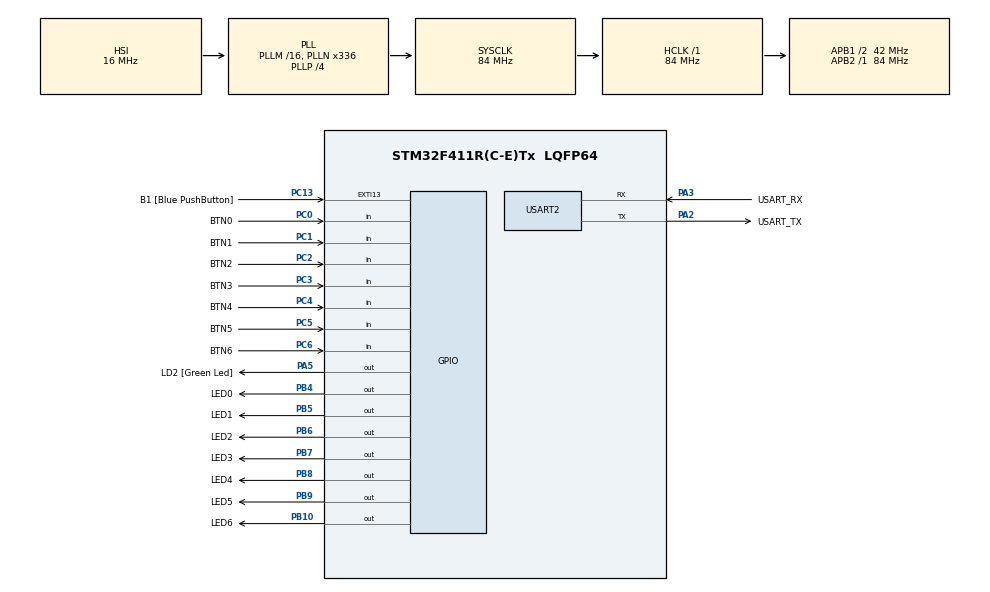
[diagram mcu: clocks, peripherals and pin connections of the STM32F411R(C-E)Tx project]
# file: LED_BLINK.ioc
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Mcu.Family=STM32F4
Mcu.Name=STM32F411R(C-E)Tx
Mcu.Package=LQFP64
NVIC.PriorityGroup=NVIC_PRIORITYGROUP_0
PA13.GPIO_Label=TMS
PA13.Mode=Serial_Wire
PA13.Signal=SYS_JTMS-SWDIO
PA14.GPIO_Label=TCK
PA14.Mode=Serial_Wire
PA14.Signal=SYS_JTCK-SWCLK
PA2.GPIO_Label=USART_TX
PA2.Mode=Asynchronous
PA2.Signal=USART2_TX
PA3.GPIO_Label=USART_RX
PA3.Mode=Asynchronous
PA3.Signal=USART2_RX
PA5.GPIO_Label=LD2 [Green Led]
PA5.Signal=GPIO_Output
PB10.GPIO_Label=LED6
PB10.Signal=GPIO_Output
PB3.GPIO_Label=SWO
PB3.Signal=SYS_JTDO-SWO
PB4.GPIO_Label=LED0
PB4.Signal=GPIO_Output
PB5.GPIO_Label=LED1
PB5.Signal=GPIO_Output
PB6.GPIO_Label=LED2
PB6.Signal=GPIO_Output
PB7.GPIO_Label=LED3
PB7.Signal=GPIO_Output
PB8.GPIO_Label=LED4
PB8.Signal=GPIO_Output
PB9.GPIO_Label=LED5
PB9.Signal=GPIO_Output
PC0.GPIO_Label=BTN0
PC0.Signal=GPIO_Input
PC1.GPIO_Label=BTN1
PC1.Signal=GPIO_Input
PC13-ANTI_TAMP.GPIO_Label=B1 [Blue PushButton]
PC13-ANTI_TAMP.GPIO_ModeDefaultEXTI=GPIO_MODE_IT_FALLING
PC13-ANTI_TAMP.Signal=GPXTI13
PC14-OSC32_IN.Signal=RCC_OSC32_IN
PC15-OSC32_OUT.Signal=RCC_OSC32_OUT
PC2.GPIO_Label=BTN2
PC2.Signal=GPIO_Input
PC3.GPIO_Label=BTN3
PC3.Signal=GPIO_Input
PC4.GPIO_Label=BTN4
PC4.Signal=GPIO_Input
PC5.GPIO_Label=BTN5
PC5.Signal=GPIO_Input
PC6.GPIO_Label=BTN6
PC6.Signal=GPIO_Input
PH0\ -\ OSC_IN.Signal=RCC_OSC_IN
PH1\ -\ OSC_OUT.Signal=RCC_OSC_OUT
ProjectManager.HeapSize=0x200
ProjectManager.StackSize=0x400
ProjectManager.TargetToolchain=STM32CubeIDE
RCC.48MHZClocksFreq_Value=84000000
RCC.AHBFreq_Value=84000000
RCC.APB1CLKDivider=RCC_HCLK_DIV2
RCC.APB1Freq_Value=42000000
RCC.APB1TimFreq_Value=84000000
RCC.APB2Freq_Value=84000000
RCC.APB2TimFreq_Value=84000000
RCC.CortexFreq_Value=84000000
RCC.FLatency-AdvancedSettings=FLASH_LATENCY_2
RCC.HCLKFreq_Value=84000000
RCC.HSE_VALUE=8000000
RCC.HSI_VALUE=16000000
RCC.PLLN=336
RCC.PLLP=RCC_PLLP_DIV4
RCC.SYSCLKFreq_VALUE=84000000
RCC.SYSCLKSource=RCC_SYSCLKSOURCE_PLLCLK
RCC.VCOOutputFreq_Value=336000000
USART2.VirtualMode=VM_ASYNC
board=NUCLEO-F411RE

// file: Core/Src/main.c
/* USER CODE BEGIN Header */
/**
  ******************************************************************************
  * @file           : main.c
  * @brief          : Main program body
  ******************************************************************************
  * @attention
  *
  * Copyright (c) 2025 STMicroelectronics.
  * All rights reserved.
  *
  * This software is licensed under terms that can be found in the LICENSE file
  * in the root directory of this software component.
  * If no LICENSE file comes with this software, it is provided AS-IS.
  *
  ******************************************************************************
  */
/* USER CODE END Header */
#include "main.h"

/* USER CODE BEGIN PD */
#define HIGH 1
#define LOW 0
#ifdef __GNUC__
/* With GCC, small printf (option LD Linker->Libraries->Small printf
   set to 'Yes') calls __io_putchar() */
#define PUTCHAR_PROTOTYPE int __io_putchar(int ch)
#else
#define PUTCHAR_PROTOTYPE int fputc(int ch, FILE *f)
#endif /* __GNUC__ */
/* USER CODE END PD */

UART_HandleTypeDef huart2;

void SystemClock_Config(void);
static void MX_GPIO_Init(void);
static void MX_USART2_UART_Init(void);

int main(void)
{

  /* USER CODE BEGIN 1 */
	/*
	int buttonState=0;
	int buttonStateOld=0;
	int buttonFlag = 0;
	int cnt=0;
	*/

	int bt0 = 0;
	int bt1 = 0;
	int bt2 = 0;
	int bt3 = 0;
	int bt4 = 0;
	int bt5 = 0;
	int bt6 = 0;

  /* USER CODE END 1 */

  /* MCU Configuration--------------------------------------------------------*/

  /* Reset of all peripherals, Initializes the Flash interface and the Systick. */
  HAL_Init();

  /* Configure the system clock */
  SystemClock_Config();

  /* Initialize all configured peripherals */
  MX_GPIO_Init();
  MX_USART2_UART_Init();
  /* USER CODE BEGIN 2 */
  printf("main() start\r\n");
  /* USER CODE END 2 */

  /* Infinite loop */
  /* USER CODE BEGIN WHILE */
  while (1)
  {
#if 0
	  HAL_GPIO_WritePin(LD2_GPIO_Port, LD2_Pin, GPIO_PIN_SET);
	  HAL_Delay(100);
	  HAL_GPIO_WritePin(LD2_GPIO_Port, LD2_Pin, GPIO_PIN_RESET);
	  HAL_Delay(100);
#endif
#if 0
	  HAL_GPIO_TogglePin(LD2_GPIO_Port, LD2_Pin);
	  HAL_Delay(100);
#endif
#if 0
	  if (button_state_old != button_state)
	  {
		  button_state = HAL_GPIO_ReadPin(GPIOC, GPIO_PIN_13);
		  HAL_GPIO_WritePin(GPIOA, GPIO_PIN_5, !button_state);
	  }
#endif
	  bt0 = !(HAL_GPIO_ReadPin(GPIOC, BTN0_Pin));
	  bt1 = !(HAL_GPIO_ReadPin(GPIOC, BTN1_Pin));
	  bt2 = !(HAL_GPIO_ReadPin(GPIOC, BTN2_Pin));
	  bt3 = !(HAL_GPIO_ReadPin(GPIOC, BTN3_Pin));
	  bt4 = !(HAL_GPIO_ReadPin(GPIOC, BTN4_Pin));
	  bt5 = !(HAL_GPIO_ReadPin(GPIOC, BTN5_Pin));
	  bt6 = !(HAL_GPIO_ReadPin(GPIOC, BTN6_Pin));

	  if (!bt0)
		  HAL_GPIO_TogglePin(GPIOB, LED0_Pin);
	  if (!bt1)
		  HAL_GPIO_TogglePin(GPIOB, LED1_Pin);
	  if (!bt2)
		  HAL_GPIO_TogglePin(GPIOB, LED2_Pin);
	  if (!bt3)
	  	  HAL_GPIO_TogglePin(GPIOB, LED3_Pin);
	  if (!bt4)
		  HAL_GPIO_TogglePin(GPIOB, LED4_Pin);
	  if (!bt5)
		  HAL_GPIO_TogglePin(GPIOB, LED5_Pin);
	  if (!bt6)
		  HAL_GPIO_TogglePin(GPIOB, LED6_Pin);

#if 0
			#define GPIO_PIN_0                 ((uint16_t)0x0001)  /* Pin 0 selected    */
			#define GPIO_PIN_1                 ((uint16_t)0x0002)  /* Pin 1 selected    */
			#define GPIO_PIN_2                 ((uint16_t)0x0004)  /* Pin 2 selected    */
			#define GPIO_PIN_3                 ((uint16_t)0x0008)  /* Pin 3 selected    */
			#define GPIO_PIN_4                 ((uint16_t)0x0010)  /* Pin 4 selected    */
			#define GPIO_PIN_5                 ((uint16_t)0x0020)  /* Pin 5 selected    */
			#define GPIO_PIN_6                 ((uint16_t)0x0040)  /* Pin 6 selected    */
			#define GPIO_PIN_7                 ((uint16_t)0x0080)  /* Pin 7 selected    */
			#define GPIO_PIN_8                 ((uint16_t)0x0100)  /* Pin 8 selected    */
			#define GPIO_PIN_9                 ((uint16_t)0x0200)  /* Pin 9 selected    */
			#define GPIO_PIN_10                ((uint16_t)0x0400)  /* Pin 10 selected   */
			#define GPIO_PIN_11                ((uint16_t)0x0800)  /* Pin 11 selected   */
			#define GPIO_PIN_12                ((uint16_t)0x1000)  /* Pin 12 selected   */
			#define GPIO_PIN_13                ((uint16_t)0x2000)  /* Pin 13 selected   */
			#define GPIO_PIN_14                ((uint16_t)0x4000)  /* Pin 14 selected   */
			#define GPIO_PIN_15                ((uint16_t)0x8000)  /* Pin 15 selected   */
			#define GPIO_PIN_All               ((uint16_t)0xFFFF)  /* All pins selected */
#endif

#if 0
	  if (buttonState != buttonStateOld)
		{
		  if (buttonState)
		  {
			  buttonFlag = !buttonFlag;
			  printf("Button Flag Changed: %d\n\r", buttonFlag);
			  printf("Count: %d\r\n", cnt++);
			  if (buttonFlag == HIGH)
				  HAL_GPIO_WritePin(LD2_GPIO_Port, LD2_Pin, HIGH);
			  else
				  HAL_GPIO_WritePin(LD2_GPIO_Port, LD2_Pin, LOW);

		  }
		  buttonStateOld = buttonState;
		}
#endif

    /* USER CODE END WHILE */

  }
}

void SystemClock_Config(void)
{
  RCC_OscInitTypeDef RCC_OscInitStruct = {0};
  RCC_ClkInitTypeDef RCC_ClkInitStruct = {0};

  /** Configure the main internal regulator output voltage
  */
  __HAL_RCC_PWR_CLK_ENABLE();
  __HAL_PWR_VOLTAGESCALING_CONFIG(PWR_REGULATOR_VOLTAGE_SCALE1);

  /** Initializes the RCC Oscillators according to the specified parameters
  * in the RCC_OscInitTypeDef structure.
  */
  RCC_OscInitStruct.OscillatorType = RCC_OSCILLATORTYPE_HSI;
  RCC_OscInitStruct.HSIState = RCC_HSI_ON;
  RCC_OscInitStruct.HSICalibrationValue = RCC_HSICALIBRATION_DEFAULT;
  RCC_OscInitStruct.PLL.PLLState = RCC_PLL_ON;
  RCC_OscInitStruct.PLL.PLLSource = RCC_PLLSOURCE_HSI;
  RCC_OscInitStruct.PLL.PLLM = 16;
  RCC_OscInitStruct.PLL.PLLN = 336;
  RCC_OscInitStruct.PLL.PLLP = RCC_PLLP_DIV4;
  RCC_OscInitStruct.PLL.PLLQ = 4;
  if (HAL_RCC_OscConfig(&RCC_OscInitStruct) != HAL_OK)
  {
    Error_Handler();
  }

  /** Initializes the CPU, AHB and APB buses clocks
  */
  RCC_ClkInitStruct.ClockType = RCC_CLOCKTYPE_HCLK|RCC_CLOCKTYPE_SYSCLK
                              |RCC_CLOCKTYPE_PCLK1|RCC_CLOCKTYPE_PCLK2;
  RCC_ClkInitStruct.SYSCLKSource = RCC_SYSCLKSOURCE_PLLCLK;
  RCC_ClkInitStruct.AHBCLKDivider = RCC_SYSCLK_DIV1;
  RCC_ClkInitStruct.APB1CLKDivider = RCC_HCLK_DIV2;
  RCC_ClkInitStruct.APB2CLKDivider = RCC_HCLK_DIV1;

  if (HAL_RCC_ClockConfig(&RCC_ClkInitStruct, FLASH_LATENCY_2) != HAL_OK)
  {
    Error_Handler();
  }
}

static void MX_USART2_UART_Init(void)
{

  huart2.Instance = USART2;
  huart2.Init.BaudRate = 115200;
  huart2.Init.WordLength = UART_WORDLENGTH_8B;
  huart2.Init.StopBits = UART_STOPBITS_1;
  huart2.Init.Parity = UART_PARITY_NONE;
  huart2.Init.Mode = UART_MODE_TX_RX;
  huart2.Init.HwFlowCtl = UART_HWCONTROL_NONE;
  huart2.Init.OverSampling = UART_OVERSAMPLING_16;
  if (HAL_UART_Init(&huart2) != HAL_OK)
  {
    Error_Handler();
  }

}

static void MX_GPIO_Init(void)
{
  GPIO_InitTypeDef GPIO_InitStruct = {0};

  /* GPIO Ports Clock Enable */
  __HAL_RCC_GPIOC_CLK_ENABLE();
  __HAL_RCC_GPIOH_CLK_ENABLE();
  __HAL_RCC_GPIOA_CLK_ENABLE();
  __HAL_RCC_GPIOB_CLK_ENABLE();

  /*Configure GPIO pin Output Level */
  HAL_GPIO_WritePin(LD2_GPIO_Port, LD2_Pin, GPIO_PIN_RESET);

  /*Configure GPIO pin Output Level */
  HAL_GPIO_WritePin(GPIOB, LED6_Pin|LED0_Pin|LED1_Pin|LED2_Pin
                          |LED3_Pin|LED4_Pin|LED5_Pin, GPIO_PIN_RESET);

  /*Configure GPIO pin : B1_Pin */
  GPIO_InitStruct.Pin = B1_Pin;
  GPIO_InitStruct.Mode = GPIO_MODE_IT_FALLING;
  GPIO_InitStruct.Pull = GPIO_NOPULL;
  HAL_GPIO_Init(B1_GPIO_Port, &GPIO_InitStruct);

  /*Configure GPIO pins : BTN0_Pin BTN1_Pin BTN2_Pin BTN3_Pin
                           BTN4_Pin BTN5_Pin BTN6_Pin */
  GPIO_InitStruct.Pin = BTN0_Pin|BTN1_Pin|BTN2_Pin|BTN3_Pin
                          |BTN4_Pin|BTN5_Pin|BTN6_Pin;
  GPIO_InitStruct.Mode = GPIO_MODE_INPUT;
  GPIO_InitStruct.Pull = GPIO_NOPULL;
  HAL_GPIO_Init(GPIOC, &GPIO_InitStruct);

  /*Configure GPIO pin : LD2_Pin */
  GPIO_InitStruct.Pin = LD2_Pin;
  GPIO_InitStruct.Mode = GPIO_MODE_OUTPUT_PP;
  GPIO_InitStruct.Pull = GPIO_NOPULL;
  GPIO_InitStruct.Speed = GPIO_SPEED_FREQ_LOW;
  HAL_GPIO_Init(LD2_GPIO_Port, &GPIO_InitStruct);

  /*Configure GPIO pins : LED6_Pin LED0_Pin LED1_Pin LED2_Pin0
                           LED3_Pin LED4_Pin LED5_Pin */
  GPIO_InitStruct.Pin = LED6_Pin|LED0_Pin|LED1_Pin|LED2_Pin
                          |LED3_Pin|LED4_Pin|LED5_Pin;
  GPIO_InitStruct.Mode = GPIO_MODE_OUTPUT_PP;
  GPIO_InitStruct.Pull = GPIO_NOPULL;
  GPIO_InitStruct.Speed = GPIO_SPEED_FREQ_LOW;
  HAL_GPIO_Init(GPIOB, &GPIO_InitStruct);

}

/* USER CODE BEGIN 4 */
/**
  * @brief  Retargets the C library printf function to the USART.
  * @param  None
  * @retval None
  */
PUTCHAR_PROTOTYPE
{
  /* Place your implementation of fputc here */
  /* e.g. write a character to the USART6 and Loop until the end of transmission */
  HAL_UART_Transmit(&huart2, (uint8_t *)&ch, 1, 0xFFFF);

  return ch;
}
/* USER CODE END 4 */

void Error_Handler(void)
{
  __disable_irq();
  while (1)
  {
  }
}
